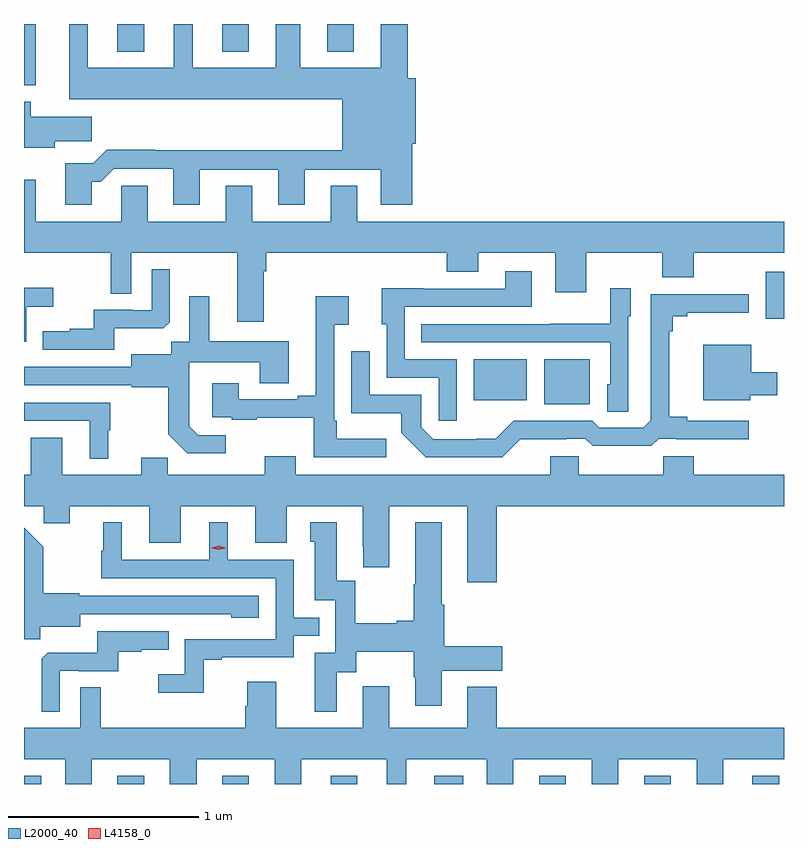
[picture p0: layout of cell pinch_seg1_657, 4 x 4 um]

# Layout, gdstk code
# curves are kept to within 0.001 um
import gdstk
lib = gdstk.Library(unit=1e-6, precision=1e-09)
def R(c, l, rs):  # rectangles x0, y0, x1, y1
    for r in rs: c.add(gdstk.rectangle(r[:2], r[2:], *l))
def A(c, l, x, y, w, h, nx, ny, dx, dy):  # array of equal rectangles
    R(c, l, [(x+i*dx, y+j*dy, x+i*dx+w, y+j*dy+h) for i in range(nx) for j in range(ny)])
def P(c, l, *ps):  # polygons
    for p in ps: c.add(gdstk.Polygon(p, *l))
L2000_40 = (2000, 40)
L4158_0 = (4158, 0)

pinch_seg1_657 = lib.new_cell('pinch_seg1_657')
A(pinch_seg1_657, L2000_40, 842.141, 580.763, 0.14, 0.146, 3, 1, 0.552, 0)
R(pinch_seg1_657, L2000_40, [(841.649,576.909,841.741,576.952), (842.141,576.909,842.281,576.952), (842.693,576.909,842.833,576.952), (843.263,576.909,843.403,576.952), (843.809,576.909,843.961,576.952), (844.361,576.909,844.501,576.952), (844.913,576.909,845.053,576.952), (845.483,576.909,845.623,576.952), (844.388,578.909,844.627,579.145), (844.016,578.93,844.294,579.145), (845.552,579.359,845.649,579.604), (841.649,580.587,841.711,580.909)])
P(pinch_seg1_657, L2000_40, [(842.005,580.079),(842.054,580.079),(842.121,580.146),(842.435,580.146),(842.435,579.957),(842.575,579.957),(842.575,580.143),(842.987,580.143),(842.987,579.957),(843.127,579.957),(843.127,580.143),(843.527,580.143),(843.527,579.957),(843.692,579.957),(843.692,580.28),(843.712,580.28),(843.712,580.624),(843.668,580.624),(843.668,580.909),(843.527,580.909),(843.527,580.678),(843.103,580.678),(843.103,580.909),(842.975,580.909),(842.975,580.678),(842.536,580.678),(842.536,580.909),(842.438,580.909),(842.438,580.678),(841.984,580.678),(841.984,580.909),(841.886,580.909),(841.886,580.514),(843.323,580.514),(843.323,580.244),(842.339,580.244),(842.339,580.247),(842.084,580.247),(842.014,580.177),(841.865,580.177),(841.865,579.957),(842.005,579.957)],
  [(841.81,580.291),(842.005,580.291),(842.005,580.42),(841.684,580.42),(841.684,580.501),(841.649,580.501),(841.649,580.259),(841.81,580.259)],
  [(842.911,579.608),(842.924,579.608),(842.924,579.704),(843.875,579.704),(843.875,579.605),(844.039,579.605),(844.039,579.704),(844.445,579.704),(844.445,579.498),(844.609,579.498),(844.609,579.704),(845.009,579.704),(845.009,579.576),(845.173,579.576),(845.173,579.704),(845.649,579.704),(845.649,579.868),(843.403,579.868),(843.403,580.058),(843.263,580.058),(843.263,579.868),(842.851,579.868),(842.851,580.058),(842.711,580.058),(842.711,579.868),(842.299,579.868),(842.299,580.058),(842.16,580.058),(842.16,579.868),(841.711,579.868),(841.711,580.09),(841.649,580.09),(841.649,579.704),(842.106,579.704),(842.106,579.49),(842.214,579.49),(842.214,579.704),(842.771,579.704),(842.771,579.342),(842.911,579.342)],
  [(842.125,579.308),(842.383,579.308),(842.415,579.339),(842.415,579.619),(842.322,579.619),(842.322,579.402),(842.222,579.402),(842.222,579.405),(842.015,579.405),(842.015,579.304),(841.891,579.304),(841.891,579.292),(841.747,579.292),(841.747,579.195),(842.125,579.195)],
  [(843.927,579.144),(843.654,579.144),(843.654,579.42),(844.321,579.42),(844.321,579.607),(844.181,579.607),(844.181,579.516),(843.751,579.516),(843.751,579.518),(843.533,579.518),(843.533,579.33),(843.558,579.33),(843.558,579.048),(843.831,579.048),(843.831,578.82),(843.927,578.82)],
  [(841.662,579.422),(841.804,579.422),(841.804,579.521),(841.649,579.521),(841.649,579.237),(841.662,579.237)],
  [(844.83,579.372),(844.843,579.372),(844.843,579.517),(844.734,579.517),(844.734,579.331),(844.417,579.331),(844.417,579.33),(843.739,579.33),(843.739,579.234),(844.734,579.234),(844.734,579.012),(844.718,579.012),(844.718,578.869),(844.83,578.869)],
  [(844.262,578.723),(844.502,578.723),(844.502,578.727),(844.602,578.727),(844.642,578.688),(844.949,578.688),(844.989,578.727),(845.083,578.727),(845.083,578.723),(845.464,578.723),(845.464,578.82),(845.14,578.82),(845.14,578.843),(845.045,578.843),(845.045,579.293),(845.063,579.293),(845.063,579.37),(845.14,579.37),(845.14,579.389),(845.464,579.389),(845.464,579.486),(844.947,579.486),(844.947,578.823),(844.908,578.784),(844.677,578.784),(844.641,578.82),(844.227,578.82),(844.133,578.726),(844.028,578.726),(844.028,578.724),(843.804,578.724),(843.741,578.787),(843.741,578.958),(843.468,578.958),(843.468,579.187),(843.372,579.187),(843.372,578.861),(843.634,578.861),(843.634,578.759),(843.764,578.628),(844.167,578.628)],
  [(842.71,578.745),(842.565,578.745),(842.518,578.792),(842.518,578.887),(842.52,578.887),(842.52,579.128),(842.891,579.128),(842.891,579.019),(843.043,579.019),(843.043,579.238),(842.623,579.238),(842.623,579.475),(842.519,579.475),(842.519,579.236),(842.424,579.236),(842.424,579.172),(842.213,579.172),(842.213,579.105),(841.649,579.106),(841.649,579.009),(842.217,579.009),(842.217,578.997),(842.409,578.997),(842.409,578.751),(842.509,578.651),(842.71,578.651)],
  [(843.556,578.725),(843.295,578.725),(843.295,578.821),(843.282,578.821),(843.282,579.326),(843.358,579.326),(843.358,579.475),(843.185,579.475),(843.185,578.953),(843.089,578.953),(843.089,578.934),(842.779,578.934),(842.779,579.019),(842.639,579.019),(842.639,578.838),(842.743,578.838),(842.743,578.826),(842.875,578.826),(842.875,578.837),(843.174,578.837),(843.174,578.628),(843.556,578.628)],
  [(845.472,578.954),(845.614,578.954),(845.614,579.076),(845.476,579.076),(845.476,579.22),(845.225,579.22),(845.225,578.93),(845.472,578.93)],
  [(842.092,578.772),(842.104,578.772),(842.104,578.916),(841.649,578.916),(841.649,578.82),(841.994,578.82),(841.994,578.621),(842.092,578.621)],
  [(844.136,578.372),(845.649,578.372),(845.649,578.536),(845.174,578.536),(845.174,578.634),(845.014,578.634),(845.014,578.536),(844.569,578.536),(844.569,578.634),(844.418,578.634),(844.418,578.536),(843.079,578.536),(843.079,578.635),(842.915,578.635),(842.915,578.536),(842.405,578.536),(842.405,578.627),(842.267,578.627),(842.267,578.536),(841.849,578.536),(841.849,578.731),(841.685,578.731),(841.685,578.536),(841.649,578.536),(841.649,578.372),(841.753,578.372),(841.753,578.282),(841.891,578.282),(841.891,578.372),(842.309,578.372),(842.309,578.178),(842.473,578.178),(842.473,578.372),(842.867,578.372),(842.867,578.178),(843.031,578.178),(843.031,578.372),(843.431,578.372),(843.431,578.161),(843.434,578.161),(843.434,578.049),(843.571,578.049),(843.571,578.372),(843.983,578.372),(843.983,577.971),(844.136,577.971)],
  [(842.595,577.563),(842.689,577.563),(842.689,577.575),(843.069,577.575),(843.069,577.689),(843.203,577.689),(843.203,577.785),(843.069,577.785),(843.069,578.088),(842.722,578.088),(842.722,578.287),(842.624,578.287),(842.624,578.088),(842.164,578.088),(842.164,578.287),(842.066,578.287),(842.066,578.136),(842.055,578.136),(842.055,577.992),(842.973,577.992),(842.973,577.671),(842.496,577.671),(842.496,577.486),(842.355,577.486),(842.355,577.388),(842.595,577.388)],
  [(843.295,577.498),(843.397,577.498),(843.397,577.604),(843.7,577.604),(843.7,577.47),(843.707,577.47),(843.707,577.32),(843.847,577.32),(843.847,577.505),(844.165,577.505),(844.165,577.635),(843.86,577.635),(843.86,577.852),(843.847,577.852),(843.847,578.287),(843.707,578.287),(843.707,577.961),(843.7,577.961),(843.7,577.769),(843.611,577.769),(843.611,577.756),(843.393,577.756),(843.393,577.979),(843.295,577.979),(843.295,578.287),(843.155,578.287),(843.155,578.184),(843.179,578.184),(843.179,577.875),(843.288,577.875),(843.288,577.599),(843.179,577.599),(843.179,577.29),(843.295,577.29)],
  [(841.734,577.736),(841.945,577.736),(841.945,577.803),(842.739,577.802),(842.739,577.784),(842.884,577.784),(842.884,577.899),(841.941,577.899),(841.941,577.912),(841.749,577.912),(841.749,578.157),(841.649,578.257),(841.649,577.672),(841.734,577.672)],
  [(841.836,577.506),(841.936,577.506),(841.936,577.503),(842.144,577.503),(842.144,577.605),(842.267,577.605),(842.267,577.616),(842.411,577.616),(842.411,577.713),(842.034,577.713),(842.034,577.601),(841.775,577.601),(841.743,577.569),(841.743,577.289),(841.836,577.289)],
  [(842.005,577.04),(842.417,577.04),(842.417,576.909),(842.557,576.909),(842.557,577.04),(842.969,577.04),(842.969,576.909),(843.108,576.909),(843.108,577.04),(843.557,577.04),(843.557,576.909),(843.661,576.909),(843.661,577.04),(844.085,577.04),(844.085,576.909),(844.225,576.909),(844.225,577.04),(844.637,577.04),(844.637,576.909),(844.777,576.909),(844.777,577.04),(845.189,577.04),(845.189,576.909),(845.328,576.909),(845.328,577.04),(845.649,577.04),(845.649,577.204),(844.136,577.204),(844.136,577.42),(843.983,577.42),(843.983,577.204),(843.571,577.204),(843.571,577.423),(843.431,577.423),(843.431,577.204),(842.977,577.204),(842.977,577.447),(842.825,577.447),(842.825,577.317),(842.813,577.317),(842.813,577.204),(842.053,577.204),(842.053,577.418),(841.944,577.418),(841.944,577.204),(841.649,577.204),(841.649,577.04),(841.865,577.04),(841.865,576.909),(842.005,576.909)])
P(pinch_seg1_657, L4158_0, [(842.673,578.142),(842.637,578.151),(842.637,578.152),(842.637,578.152),(842.673,578.162),(842.709,578.152),(842.709,578.152),(842.709,578.151)])

lib.write_gds('pinch_seg1_657.gds')
